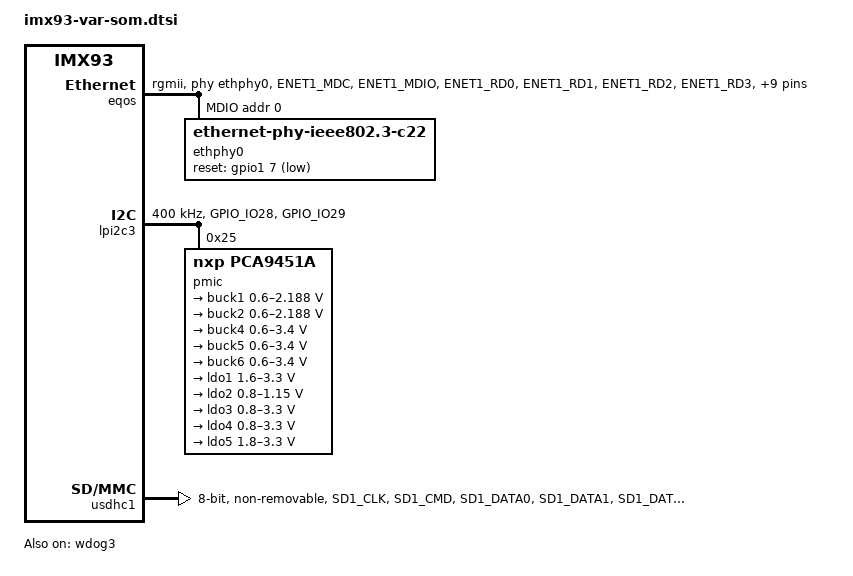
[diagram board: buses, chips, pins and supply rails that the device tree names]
// SPDX-License-Identifier: (GPL-2.0+ OR MIT)
/*
 * Copyright 2021 NXP
 * Copyright 2022 Variscite Ltd.
 */

/dts-v1/;

#include "imx93.dtsi"

/{
	compatible = "variscite,imx93-var-som", "fsl,imx93";

	aliases {
		ethernet0 = &eqos;
	};
};

&eqos {
	pinctrl-names = "default";
	pinctrl-0 = <&pinctrl_eqos>;
	phy-mode = "rgmii";
	phy-handle = <&ethphy0>;
	status = "okay";

	mdio {
		compatible = "snps,dwmac-mdio";
		#address-cells = <1>;
		#size-cells = <0>;
		clock-frequency = <1000000>;

		ethphy0: ethernet-phy@0 {
			compatible = "ethernet-phy-ieee802.3-c22";
			reg = <0>;
            device_type = "ethernet-phy";
			at803x,eee-disabled;
			eee-broken-1000t;
			reset-gpios = <&gpio1 7 GPIO_ACTIVE_LOW>;
			reset-assert-us = <15000>;
			reset-deassert-us = <100000>;
		};
	};
};

&iomuxc {
	pinctrl-names = "default";
	status = "okay";

	pinctrl_eqos: eqosgrp {
		fsl,pins = <
			MX93_PAD_ENET1_MDC__ENET_QOS_MDC				0x57e
			MX93_PAD_ENET1_MDIO__ENET_QOS_MDIO				0x57e
			MX93_PAD_ENET1_RD0__ENET_QOS_RGMII_RD0			0x57e
			MX93_PAD_ENET1_RD1__ENET_QOS_RGMII_RD1			0x57e
			MX93_PAD_ENET1_RD2__ENET_QOS_RGMII_RD2			0x57e
			MX93_PAD_ENET1_RD3__ENET_QOS_RGMII_RD3			0x57e
			MX93_PAD_ENET1_RXC__CCM_ENET_QOS_CLOCK_GENERATE_RX_CLK	0x5fe
			MX93_PAD_ENET1_RX_CTL__ENET_QOS_RGMII_RX_CTL		0x57e
			MX93_PAD_ENET1_TD0__ENET_QOS_RGMII_TD0			0x57e
			MX93_PAD_ENET1_TD1__ENET_QOS_RGMII_TD1			0x57e
			MX93_PAD_ENET1_TD2__ENET_QOS_RGMII_TD2			0x57e
			MX93_PAD_ENET1_TD3__ENET_QOS_RGMII_TD3			0x57e
			MX93_PAD_ENET1_TXC__CCM_ENET_QOS_CLOCK_GENERATE_TX_CLK	0x5fe
			MX93_PAD_ENET1_TX_CTL__ENET_QOS_RGMII_TX_CTL		0x57e
			MX93_PAD_UART2_TXD__GPIO1_IO07							0x31e
		>;
	};

	pinctrl_lpi2c3: lpi2c3grp {
		fsl,pins = <
			MX93_PAD_GPIO_IO28__LPI2C3_SDA			0x40000b9e
			MX93_PAD_GPIO_IO29__LPI2C3_SCL			0x40000b9e
		>;
	};

	pinctrl_usdhc1: usdhc1grp {
		fsl,pins = <
			MX93_PAD_SD1_CLK__USDHC1_CLK			0x17fe
			MX93_PAD_SD1_CMD__USDHC1_CMD			0x13fe
			MX93_PAD_SD1_DATA0__USDHC1_DATA0		0x13fe
			MX93_PAD_SD1_DATA1__USDHC1_DATA1        	0x13fe
			MX93_PAD_SD1_DATA2__USDHC1_DATA2        	0x13fe
			MX93_PAD_SD1_DATA3__USDHC1_DATA3        	0x13fe
			MX93_PAD_SD1_DATA4__USDHC1_DATA4        	0x13fe
			MX93_PAD_SD1_DATA5__USDHC1_DATA5        	0x13fe
			MX93_PAD_SD1_DATA6__USDHC1_DATA6        	0x13fe
			MX93_PAD_SD1_DATA7__USDHC1_DATA7        	0x13fe
			MX93_PAD_SD1_STROBE__USDHC1_STROBE		0x17fe
		>;
	};
};

&lpi2c3 {
	#address-cells = <1>;
	#size-cells = <0>;
	clock-frequency = <400000>;
	pinctrl-names = "default", "sleep";
	pinctrl-0 = <&pinctrl_lpi2c3>;
	pinctrl-1 = <&pinctrl_lpi2c3>;
	status = "okay";

	pmic@25 {
		compatible = "nxp,pca9451a";
		reg = <0x25>;
		pinctrl-names = "default";

		regulators {
			buck1: BUCK1 {
				regulator-name = "BUCK1";
				regulator-min-microvolt = <600000>;
				regulator-max-microvolt = <2187500>;
				regulator-boot-on;
				regulator-always-on;
				regulator-ramp-delay = <3125>;
			};

			buck2: BUCK2 {
				regulator-name = "BUCK2";
				regulator-min-microvolt = <600000>;
				regulator-max-microvolt = <2187500>;
				regulator-boot-on;
				regulator-always-on;
				regulator-ramp-delay = <3125>;
			};

			buck4: BUCK4{
				regulator-name = "BUCK4";
				regulator-min-microvolt = <600000>;
				regulator-max-microvolt = <3400000>;
				regulator-boot-on;
				regulator-always-on;
			};

			buck5: BUCK5{
				regulator-name = "BUCK5";
				regulator-min-microvolt = <600000>;
				regulator-max-microvolt = <3400000>;
				regulator-boot-on;
				regulator-always-on;
			};

			buck6: BUCK6 {
				regulator-name = "BUCK6";
				regulator-min-microvolt = <600000>;
				regulator-max-microvolt = <3400000>;
				regulator-boot-on;
				regulator-always-on;
			};

			ldo1: LDO1 {
				regulator-name = "LDO1";
				regulator-min-microvolt = <1600000>;
				regulator-max-microvolt = <3300000>;
				regulator-boot-on;
				regulator-always-on;
			};

			ldo2: LDO2 {
				regulator-name = "LDO2";
				regulator-min-microvolt = <800000>;
				regulator-max-microvolt = <1150000>;
				regulator-boot-on;
				regulator-always-on;
			};

			ldo3: LDO3 {
				regulator-name = "LDO3";
				regulator-min-microvolt = <800000>;
				regulator-max-microvolt = <3300000>;
				regulator-boot-on;
				regulator-always-on;
			};

			ldo4: LDO4 {
				regulator-name = "LDO4";
				regulator-min-microvolt = <800000>;
				regulator-max-microvolt = <3300000>;
				regulator-boot-on;
				regulator-always-on;
			};

			ldo5: LDO5 {
				regulator-name = "LDO5";
				regulator-min-microvolt = <1800000>;
				regulator-max-microvolt = <3300000>;
				regulator-boot-on;
				regulator-always-on;
			};
		};
	};
};

&usdhc1 {
	pinctrl-names = "default", "state_100mhz", "state_200mhz";
	pinctrl-0 = <&pinctrl_usdhc1>;
	pinctrl-1 = <&pinctrl_usdhc1>;
	pinctrl-2 = <&pinctrl_usdhc1>;
	bus-width = <8>;
	non-removable;
	status = "okay";
};

&wdog3 {
	status = "okay";
};
